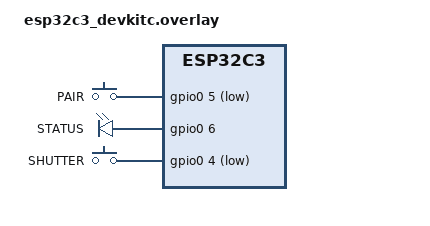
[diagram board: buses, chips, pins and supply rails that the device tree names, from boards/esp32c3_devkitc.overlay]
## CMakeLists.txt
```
cmake_minimum_required(VERSION 3.20.0)
find_package(Zephyr REQUIRED HINTS $ENV{ZEPHYR_BASE})
project(magnetic_shutter_remote_r8)
target_sources(app PRIVATE src/main.c src/hid.c)
```

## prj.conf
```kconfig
CONFIG_GPIO=y
CONFIG_BT=y
CONFIG_BT_PERIPHERAL=y
CONFIG_BT_SMP=y
CONFIG_BT_BONDABLE=y
CONFIG_BT_MAX_CONN=1
CONFIG_BT_MAX_PAIRED=1
CONFIG_BT_DEVICE_NAME="Grip Shutter R8"
CONFIG_BT_DEVICE_APPEARANCE=384
CONFIG_BT_SETTINGS=y
CONFIG_SETTINGS=y
CONFIG_FLASH=y
CONFIG_FLASH_MAP=y
CONFIG_NVS=y
CONFIG_BT_FILTER_ACCEPT_LIST=y
CONFIG_BT_PERIPHERAL_PREF_MIN_INT=24
CONFIG_BT_PERIPHERAL_PREF_MAX_INT=40
CONFIG_BT_PERIPHERAL_PREF_LATENCY=4
CONFIG_BT_PERIPHERAL_PREF_TIMEOUT=600
CONFIG_TICKLESS_KERNEL=y
CONFIG_SYSTEM_WORKQUEUE_STACK_SIZE=2048
CONFIG_MAIN_STACK_SIZE=2048
CONFIG_LOG=n
CONFIG_CONSOLE=n
CONFIG_SERIAL=n
CONFIG_UART_CONSOLE=n
CONFIG_WIFI=n
```

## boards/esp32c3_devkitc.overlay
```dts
/* SPDX-License-Identifier: Apache-2.0 */
/* Candidate pin contract only. R8 PCB qualification is blocked; do not flash R6/R7. */
/ {
	chosen {
		/delete-property/ zephyr,console;
		/delete-property/ zephyr,shell-uart;
	};
	aliases {
		sw1 = &pair_button;
		led0 = &status_led;
	};
	gpio_keys {
		pair_button: pair_button {
			label = "PAIR";
			gpios = <&gpio0 5 (GPIO_PULL_UP | GPIO_ACTIVE_LOW)>;
			zephyr,code = <INPUT_KEY_1>;
		};
	};
	leds {
		compatible = "gpio-leds";
		status_led: status_led {
			label = "STATUS";
			gpios = <&gpio0 6 GPIO_ACTIVE_HIGH>;
		};
	};
};

&user_button1 {
	label = "SHUTTER";
	gpios = <&gpio0 4 (GPIO_PULL_UP | GPIO_ACTIVE_LOW)>;
};

&wifi { status = "disabled"; };
&i2c0 { status = "disabled"; };
&spi2 { status = "disabled"; };
&uart0 { status = "disabled"; };
&usb_serial { status = "disabled"; };
```

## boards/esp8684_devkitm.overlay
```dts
/* SPDX-License-Identifier: Apache-2.0 */
/* R8 DOIT ESPC2-12E-N4: GPIO4 shutter, GPIO5 pair, GPIO6 LED; 26 MHz / 4 MB. */
/ {
	chosen {
		/delete-property/ zephyr,console;
		/delete-property/ zephyr,shell-uart;
	};
	aliases {
		sw1 = &pair_button;
		led0 = &status_led;
	};
	gpio_keys {
		pair_button: pair_button {
			label = "PAIR";
			gpios = <&gpio0 5 (GPIO_PULL_UP | GPIO_ACTIVE_LOW)>;
			zephyr,code = <INPUT_KEY_1>;
		};
	};
	leds {
		compatible = "gpio-leds";
		status_led: status_led {
			label = "STATUS";
			gpios = <&gpio0 6 GPIO_ACTIVE_HIGH>;
		};
	};
};

&user_button1 {
	label = "SHUTTER";
	gpios = <&gpio0 4 (GPIO_PULL_UP | GPIO_ACTIVE_LOW)>;
};

&wifi { status = "disabled"; };
&i2c0 { status = "disabled"; };
&spi2 { status = "disabled"; };
&uart0 { status = "disabled"; };
&cpu0 { xtal-freq = <DT_FREQ_M(26)>; };
```

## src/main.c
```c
/* SPDX-License-Identifier: Apache-2.0 */
#include <errno.h>
#include <zephyr/kernel.h>
#include <zephyr/drivers/gpio.h>
#include <zephyr/settings/settings.h>
#include <zephyr/bluetooth/bluetooth.h>
#include <zephyr/bluetooth/conn.h>
#include <zephyr/bluetooth/hci.h>
#include <zephyr/bluetooth/uuid.h>
#include <zephyr/sys/atomic.h>
#include "hid.h"

static const struct gpio_dt_spec shutter = GPIO_DT_SPEC_GET(DT_ALIAS(sw0), gpios);
static const struct gpio_dt_spec pair = GPIO_DT_SPEC_GET(DT_ALIAS(sw1), gpios);
static const struct gpio_dt_spec led = GPIO_DT_SPEC_GET(DT_ALIAS(led0), gpios);
static struct gpio_callback button_callback;
K_SEM_DEFINE(button_event, 0, 1);
static atomic_t connected;
static atomic_t restart_advertising;
static bool advertising;
static bool pairing_window;
static bool bond_present;
static int bond_error;
static int64_t advertising_deadline;

static const struct bt_data advertising_payload[] = {
	BT_DATA_BYTES(BT_DATA_FLAGS, BT_LE_AD_GENERAL | BT_LE_AD_NO_BREDR),
	BT_DATA_BYTES(BT_DATA_UUID16_ALL, BT_UUID_16_ENCODE(BT_UUID_HIDS_VAL)),
	BT_DATA_BYTES(BT_DATA_GAP_APPEARANCE, 0x80, 0x01)
};
static const struct bt_data scan_payload[] = {
	BT_DATA(BT_DATA_NAME_COMPLETE, CONFIG_BT_DEVICE_NAME, sizeof(CONFIG_BT_DEVICE_NAME) - 1)
};

static void fault(void)
{
	for (;;) {
		gpio_pin_toggle_dt(&led);
		k_sleep(K_MSEC(100));
	}
}
static void button_irq(const struct device *port, struct gpio_callback *cb, uint32_t pins)
{
	ARG_UNUSED(port); ARG_UNUSED(cb); ARG_UNUSED(pins);
	k_sem_give(&button_event);
}
static void on_connected(struct bt_conn *conn, uint8_t err)
{
	if (err) { atomic_set(&restart_advertising, 1); return; }
	atomic_set(&connected, 1);
	if (bt_conn_set_security(conn, BT_SECURITY_L2)) {
		bt_conn_disconnect(conn, BT_HCI_ERR_AUTH_FAIL);
	}
}
static void on_disconnected(struct bt_conn *conn, uint8_t reason)
{
	ARG_UNUSED(conn); ARG_UNUSED(reason);
	atomic_clear(&connected);
	shutter_hid_disconnected();
	atomic_set(&restart_advertising, 1);
	k_sem_give(&button_event);
}
BT_CONN_CB_DEFINE(connection_callbacks) = {
	.connected = on_connected,
	.disconnected = on_disconnected,
};
static void add_bond(const struct bt_bond_info *bond, void *context)
{
	ARG_UNUSED(context);
	bond_present = true;
	int err = bt_le_filter_accept_list_add(&bond->addr);
	if (err) bond_error = err;
}
static int start_advertising(bool request_pairing)
{
	if (advertising) {
		int err = bt_le_adv_stop();
		if (err && err != -EALREADY) return err;
	}
	advertising = false;
	bond_present = false;
	bond_error = 0;
	int err = bt_le_filter_accept_list_clear();
	if (err) return err;
	bt_foreach_bond(BT_ID_DEFAULT, add_bond, NULL);
	if (bond_error) return bond_error;
	pairing_window = request_pairing || !bond_present;
	bt_set_bondable(pairing_window);
	struct bt_le_adv_param parameters = *BT_LE_ADV_CONN_FAST_1;
	if (!pairing_window) parameters.options |= BT_LE_ADV_OPT_FILTER_CONN;
	err = bt_le_adv_start(&parameters, advertising_payload, ARRAY_SIZE(advertising_payload),
		scan_payload, ARRAY_SIZE(scan_payload));
	if (!err) {
		advertising = true;
		advertising_deadline = k_uptime_get() + (pairing_window ? 120000 : 30000);
	}
	return err;
}
static void disconnect_peer(struct bt_conn *conn, void *context)
{
	ARG_UNUSED(context);
	bt_conn_disconnect(conn, BT_HCI_ERR_REMOTE_USER_TERM_CONN);
}

int main(void)
{
	if (!gpio_is_ready_dt(&led) || !gpio_is_ready_dt(&shutter) || !gpio_is_ready_dt(&pair)) return -ENODEV;
	if (gpio_pin_configure_dt(&led, GPIO_OUTPUT_INACTIVE)) return -EIO;
	if (gpio_pin_configure_dt(&shutter, GPIO_INPUT) || gpio_pin_configure_dt(&pair, GPIO_INPUT)) fault();
	gpio_init_callback(&button_callback, button_irq, BIT(shutter.pin) | BIT(pair.pin));
	if (gpio_add_callback(shutter.port, &button_callback) ||
		gpio_pin_interrupt_configure_dt(&shutter, GPIO_INT_EDGE_BOTH) ||
		gpio_pin_interrupt_configure_dt(&pair, GPIO_INT_EDGE_BOTH)) fault();
	if (bt_enable(NULL) || settings_load() || start_advertising(false)) fault();

	bool shutter_was_pressed = false;
	bool pair_was_pressed = false;
	bool pair_hold_handled = false;
	bool release_pending = false;
	bool pairing_requested = false;
	int64_t pair_pressed_at = 0;
	int64_t release_at = 0;
	int64_t led_off_at = 0;
	int64_t last_blink = 0;
	int64_t last_input_change = 0;
	int previous_raw = 0;

	for (;;) {
		int64_t now = k_uptime_get();
		if (atomic_cas(&restart_advertising, 1, 0)) {
			advertising = false;
			release_pending = false;
			if (pairing_requested && bt_unpair(BT_ID_DEFAULT, BT_ADDR_LE_ANY)) fault();
			if (start_advertising(pairing_requested)) fault();
			pairing_requested = false;
		}
		int shutter_raw = gpio_pin_get_dt(&shutter);
		int pair_raw = gpio_pin_get_dt(&pair);
		if (shutter_raw < 0 || pair_raw < 0) fault();
		int raw = shutter_raw | (pair_raw << 1);
		if (raw != previous_raw) { previous_raw = raw; last_input_change = now; }
		if (now - last_input_change >= 30) {
			bool shutter_pressed = raw & 1;
			bool pair_pressed = raw & 2;
			if (shutter_pressed && !shutter_was_pressed) {
				if (atomic_get(&connected) && !release_pending && shutter_hid_send(true) == 0) {
					release_pending = true;
					release_at = now + 60;
					gpio_pin_set_dt(&led, 1);
					led_off_at = now + 80;
				} else if (!atomic_get(&connected) && !advertising) {
					if (start_advertising(false)) fault();
				}
			}
			if (pair_pressed && !pair_was_pressed) { pair_pressed_at = now; pair_hold_handled = false; }
			if (pair_pressed && !pair_hold_handled && now - pair_pressed_at >= 3000) {
				pair_hold_handled = true;
				if (atomic_get(&connected)) {
					pairing_requested = true;
					bt_conn_foreach(BT_CONN_TYPE_LE, disconnect_peer, NULL);
				} else {
					if (advertising && bt_le_adv_stop()) fault();
					advertising = false;
					if (bt_unpair(BT_ID_DEFAULT, BT_ADDR_LE_ANY) || start_advertising(true)) fault();
				}
			}
			shutter_was_pressed = shutter_pressed;
			pair_was_pressed = pair_pressed;
		}
		if (release_pending && now >= release_at) {
			if (shutter_hid_send(false) == 0) release_pending = false;
			else if (now - release_at > 1000) {
				/* End a stalled link instead of leaving a pressed key latched. */
				bt_conn_foreach(BT_CONN_TYPE_LE, disconnect_peer, NULL);
				release_pending = false;
			}
		}
		if (advertising && !atomic_get(&connected) && now >= advertising_deadline) {
			if (bt_le_adv_stop()) fault();
			advertising = false;
			bt_set_bondable(false);
		}
		if (advertising && !atomic_get(&connected) && now - last_blink >= (pairing_window ? 500 : 2000)) {
			gpio_pin_set_dt(&led, 1); led_off_at = now + 30; last_blink = now;
		}
		if (now >= led_off_at) gpio_pin_set_dt(&led, 0);
		/* Interrupt wakes idle immediately. Poll briefly for debounce, pairing
		 * hold and release retry; otherwise sleep between status updates. */
		bool busy = raw || release_pending || now - last_input_change < 40 || now < led_off_at;
		k_sem_take(&button_event, busy ? K_MSEC(10) : K_MSEC(500));
	}
}
```

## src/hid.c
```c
/* SPDX-License-Identifier: Apache-2.0 */
#include <errno.h>
#include <zephyr/bluetooth/gatt.h>
#include <zephyr/bluetooth/uuid.h>
#include <zephyr/sys/atomic.h>
#include "hid.h"

/* Consumer Control, report ID 1, one Volume Increment bit and seven padding
 * bits. A report characteristic carries only the payload, not the report ID. */
static const uint8_t report_map[] = {
	0x05,0x0c, 0x09,0x01, 0xa1,0x01, 0x85,0x01,
	0x15,0x00, 0x25,0x01, 0x09,0xe9, 0x75,0x01,
	0x95,0x01, 0x81,0x02, 0x75,0x07, 0x95,0x01,
	0x81,0x03, 0xc0
};
/* No remote wake promise; advertising stops after the connection window. */
static const uint8_t information[] = {0x11,0x01,0x00,0x00};
static const uint8_t report_reference[] = {0x01,0x01};
static atomic_t subscribed;
static atomic_t suspended;
static uint8_t last_report;

static ssize_t read_map(struct bt_conn *conn, const struct bt_gatt_attr *attr,
		void *buf, uint16_t len, uint16_t offset)
{
	return bt_gatt_attr_read(conn, attr, buf, len, offset, report_map, sizeof(report_map));
}
static ssize_t read_info(struct bt_conn *conn, const struct bt_gatt_attr *attr,
		void *buf, uint16_t len, uint16_t offset)
{
	return bt_gatt_attr_read(conn, attr, buf, len, offset, information, sizeof(information));
}
static ssize_t read_reference(struct bt_conn *conn, const struct bt_gatt_attr *attr,
		void *buf, uint16_t len, uint16_t offset)
{
	return bt_gatt_attr_read(conn, attr, buf, len, offset, report_reference, sizeof(report_reference));
}
static ssize_t read_input(struct bt_conn *conn, const struct bt_gatt_attr *attr,
		void *buf, uint16_t len, uint16_t offset)
{
	return bt_gatt_attr_read(conn, attr, buf, len, offset, &last_report, sizeof(last_report));
}
static void ccc_changed(const struct bt_gatt_attr *attr, uint16_t value)
{
	ARG_UNUSED(attr);
	atomic_set(&subscribed, value == BT_GATT_CCC_NOTIFY);
}
static ssize_t write_control(struct bt_conn *conn, const struct bt_gatt_attr *attr,
		const void *buf, uint16_t len, uint16_t offset, uint8_t flags)
{
	ARG_UNUSED(conn); ARG_UNUSED(attr); ARG_UNUSED(flags);
	if (offset != 0) return BT_GATT_ERR(BT_ATT_ERR_INVALID_OFFSET);
	if (len != 1) return BT_GATT_ERR(BT_ATT_ERR_INVALID_ATTRIBUTE_LEN);
	uint8_t command = *(const uint8_t *)buf;
	if (command > 1) return BT_GATT_ERR(BT_ATT_ERR_VALUE_NOT_ALLOWED);
	atomic_set(&suspended, command == 0);
	return len;
}

BT_GATT_SERVICE_DEFINE(shutter_hid,
	BT_GATT_PRIMARY_SERVICE(BT_UUID_HIDS),
	BT_GATT_CHARACTERISTIC(BT_UUID_HIDS_INFO, BT_GATT_CHRC_READ,
		BT_GATT_PERM_READ, read_info, NULL, NULL),
	BT_GATT_CHARACTERISTIC(BT_UUID_HIDS_REPORT_MAP, BT_GATT_CHRC_READ,
		BT_GATT_PERM_READ, read_map, NULL, NULL),
	BT_GATT_CHARACTERISTIC(BT_UUID_HIDS_REPORT, BT_GATT_CHRC_READ | BT_GATT_CHRC_NOTIFY,
		BT_GATT_PERM_READ_ENCRYPT, read_input, NULL, NULL),
	BT_GATT_CCC(ccc_changed, BT_GATT_PERM_READ_ENCRYPT | BT_GATT_PERM_WRITE_ENCRYPT),
	BT_GATT_DESCRIPTOR(BT_UUID_HIDS_REPORT_REF, BT_GATT_PERM_READ,
		read_reference, NULL, NULL),
	BT_GATT_CHARACTERISTIC(BT_UUID_HIDS_CTRL_POINT, BT_GATT_CHRC_WRITE_WITHOUT_RESP,
		BT_GATT_PERM_WRITE_ENCRYPT, NULL, write_control, NULL)
);

bool shutter_hid_ready(void)
{
	return atomic_get(&subscribed) && !atomic_get(&suspended);
}
int shutter_hid_send(bool pressed)
{
	if (!shutter_hid_ready()) return -EACCES;
	uint8_t report = pressed ? 1 : 0;
	int err = bt_gatt_notify(NULL, &shutter_hid.attrs[5], &report, sizeof(report));
	if (!err) last_report = report;
	return err;
}
void shutter_hid_disconnected(void)
{
	atomic_clear(&subscribed);
	atomic_clear(&suspended);
	last_report = 0;
}
```
